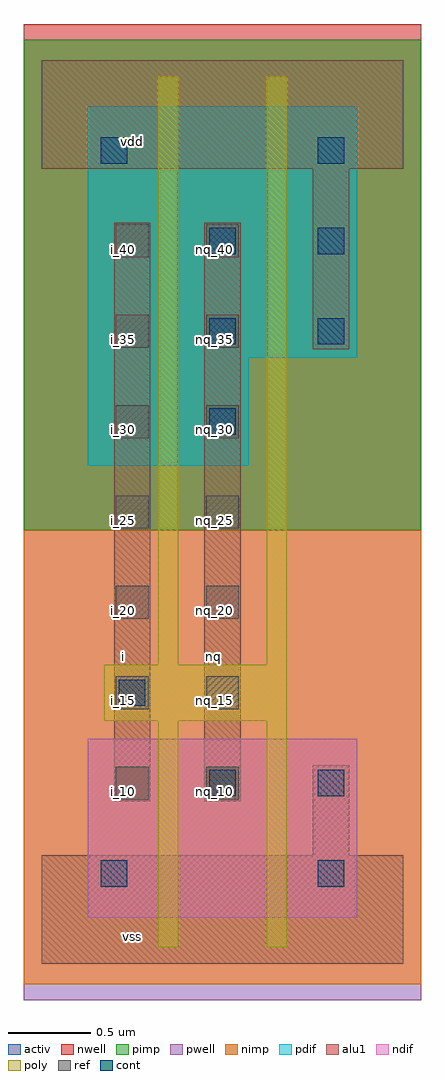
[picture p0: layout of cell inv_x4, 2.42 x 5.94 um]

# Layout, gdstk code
import gdstk
lib = gdstk.Library(unit=1e-6, precision=2.5e-09)
def R(c, l, rs):  # rectangles x0, y0, x1, y1
    for r in rs: c.add(gdstk.rectangle(r[:2], r[2:], *l))
def A(c, l, x, y, w, h, nx, ny, dx, dy):  # array of equal rectangles
    R(c, l, [(x+i*dx, y+j*dy, x+i*dx+w, y+j*dy+h) for i in range(nx) for j in range(ny)])
ndif = (3, 0)
pdif = (4, 0)
ref = (24, 0)
cont = (25, 0)
pwell = (41, 0)
nwell = (42, 0)
activ = (43, 0)
pimp = (44, 0)
nimp = (45, 0)
poly = (46, 0)
alu1 = (49, 0)

inv_x4 = lib.new_cell('inv_x4')
R(inv_x4, ndif, [(0.28,0.28,1.92,1.37), (0.28,0.28,1.92,1.37)])
R(inv_x4, pdif, [(0.28,3.03,1.26,3.69), (0.28,3.03,1.26,3.69), (0.28,3.69,1.92,5.22), (0.28,3.69,1.92,5.22)])
A(inv_x4, ref, 0.45, 1, 0.2, 0.2, 1, 7, 0, 0.55)
A(inv_x4, ref, 1, 1, 0.2, 0.2, 1, 7, 0, 0.55)
A(inv_x4, cont, 1.02, 3.22, 0.16, 0.16, 1, 3, 0, 0.55)
A(inv_x4, cont, 1.68, 3.77, 0.16, 0.16, 1, 3, 0, 0.55)
R(inv_x4, cont, [(0.36,0.47,0.52,0.63), (1.68,0.47,1.84,0.63), (1.02,1.02,1.18,1.18), (1.68,1.02,1.84,1.18), (0.47,1.57,0.63,1.73), (0.36,4.87,0.52,5.03)])
R(inv_x4, pwell, [(-0.11,-0.22,2.31,2.64)])
R(inv_x4, nwell, [(-0.11,2.64,2.31,5.72)])
R(inv_x4, activ, [(0.28,0.28,1.92,1.37), (0.28,0.28,1.92,1.37), (0.28,3.03,1.26,3.69), (0.28,3.03,1.26,3.69), (0.28,3.69,1.92,5.22), (0.28,3.69,1.92,5.22)])
R(inv_x4, pimp, [(-0.11,2.64,2.31,5.625)])
R(inv_x4, nimp, [(-0.11,-0.125,2.31,2.64)])
R(inv_x4, poly, [(0.71,0.1,0.83,1.48), (1.37,0.1,1.49,1.48), (0.38,1.48,1.49,1.82), (0.71,1.82,0.83,5.4), (1.37,1.82,1.49,5.4)])
R(inv_x4, alu1, [(0,0,2.2,0.66), (1.65,0.66,1.87,1.21), (0.44,0.99,0.66,4.51), (0.99,0.99,1.21,4.51), (1.65,3.74,1.87,4.84), (0,4.84,2.2,5.5)])
inv_x4.add(gdstk.Label('vss', (0.55,0.165), layer=49, texttype=0))
inv_x4.add(gdstk.Label('nq', (1.045,1.87), layer=49, texttype=0))
inv_x4.add(gdstk.Label('i', (0.495,1.87), layer=49, texttype=0))
inv_x4.add(gdstk.Label('vdd', (0.55,5.005), layer=49, texttype=0))
inv_x4.add(gdstk.Label('nq_10', (1.05,1.05), layer=24, texttype=0))
inv_x4.add(gdstk.Label('nq_15', (1.05,1.6), layer=24, texttype=0))
inv_x4.add(gdstk.Label('nq_20', (1.05,2.15), layer=24, texttype=0))
inv_x4.add(gdstk.Label('nq_25', (1.05,2.7), layer=24, texttype=0))
inv_x4.add(gdstk.Label('nq_30', (1.05,3.25), layer=24, texttype=0))
inv_x4.add(gdstk.Label('nq_35', (1.05,3.8), layer=24, texttype=0))
inv_x4.add(gdstk.Label('nq_40', (1.05,4.35), layer=24, texttype=0))
inv_x4.add(gdstk.Label('i_40', (0.5,4.35), layer=24, texttype=0))
inv_x4.add(gdstk.Label('i_35', (0.5,3.8), layer=24, texttype=0))
inv_x4.add(gdstk.Label('i_30', (0.5,3.25), layer=24, texttype=0))
inv_x4.add(gdstk.Label('i_25', (0.5,2.7), layer=24, texttype=0))
inv_x4.add(gdstk.Label('i_20', (0.5,2.15), layer=24, texttype=0))
inv_x4.add(gdstk.Label('i_15', (0.5,1.6), layer=24, texttype=0))
inv_x4.add(gdstk.Label('i_10', (0.5,1.05), layer=24, texttype=0))

lib.write_gds('inv_x4.gds')
